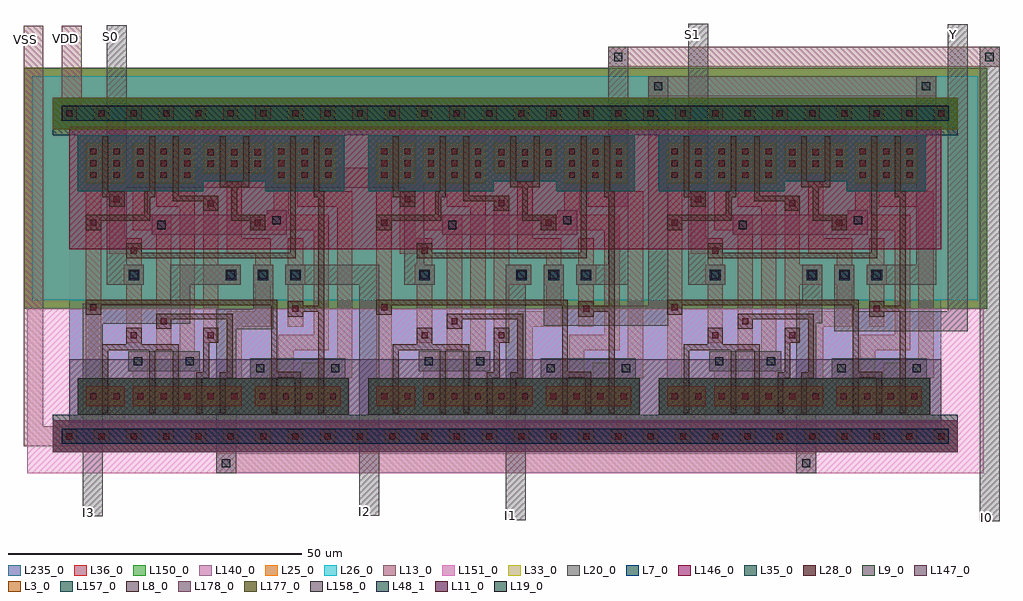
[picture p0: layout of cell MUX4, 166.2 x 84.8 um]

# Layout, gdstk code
import gdstk
lib = gdstk.Library(unit=1e-6, precision=1e-07)
def R(c, l, rs):  # rectangles x0, y0, x1, y1
    for r in rs: c.add(gdstk.rectangle(r[:2], r[2:], *l))
def A(c, l, x, y, w, h, nx, ny, dx, dy):  # array of equal rectangles
    R(c, l, [(x+i*dx, y+j*dy, x+i*dx+w, y+j*dy+h) for i in range(nx) for j in range(ny)])
def P(c, l, *ps):  # polygons
    for p in ps: c.add(gdstk.Polygon(p, *l))
L3_0 = (3, 0)
L7_0 = (7, 0)
L8_0 = (8, 0)
L9_0 = (9, 0)
L11_0 = (11, 0)
L13_0 = (13, 0)
L19_0 = (19, 0)
L20_0 = (20, 0)
L25_0 = (25, 0)
L26_0 = (26, 0)
L28_0 = (28, 0)
L33_0 = (33, 0)
L35_0 = (35, 0)
L36_0 = (36, 0)
L48_1 = (48, 1)
L140_0 = (140, 0)
L146_0 = (146, 0)
L147_0 = (147, 0)
L150_0 = (150, 0)
L151_0 = (151, 0)
L157_0 = (157, 0)
L158_0 = (158, 0)
L177_0 = (177, 0)
L178_0 = (178, 0)
L235_0 = (235, 0)

mux2 = lib.new_cell('MUX2')
A(mux2, L3_0, -1.3, -1.3, 2.6, 2.6, 10, 2, 5.5, 55)
R(mux2, L3_0, [(2.8,5.1,9.4,8.5), (10.8,5.1,29.4,8.5), (31.6,5.1,46.2,8.5), (2.8,43.1,9.4,49.9), (10.8,43.1,21.4,49.9), (34.8,43.1,45.4,49.9), (22.8,44.8,33.4,49.9)])
R(mux2, L7_0, [(-2.8,-2.7,52.3,2.7)])
P(mux2, L7_0, [(1.4,41.7),(1.4,51.3),(-2.8,51.3),(-2.8,57.7),(52.3,57.7),(52.3,51.3),(46.8,51.3),(46.8,41.7),(33.4,41.7),(33.4,43.4),(22.8,43.4),(22.8,41.7)])
P(mux2, L8_0, [(5.6,3.9),(5.6,15.7),(9.7,15.7),(9.7,18.5),(12.3,18.5),(12.3,15.7),(18.6,15.7),(18.6,3.9),(17.6,3.9),(17.6,14.7),(14.6,14.7),(14.6,3.9),(13.6,3.9),(13.6,14.7),(6.6,14.7),(6.6,3.9)],
  [(21.6,3.9),(21.6,10.9),(22.8,10.9),(22.8,18.5),(25.4,18.5),(25.4,15.9),(23.8,15.9),(23.8,9.9),(22.6,9.9),(22.6,3.9)],
  [(25.6,3.9),(25.6,10.9),(26.8,10.9),(26.8,19.9),(17.4,19.9),(17.4,18.3),(14.8,18.3),(14.8,20.9),(27.8,20.9),(27.8,9.9),(26.6,9.9),(26.6,3.9)],
  [(34.4,3.9),(34.4,22.3),(5.4,22.3),(5.4,20.7),(2.8,20.7),(2.8,23.3),(35.4,23.3),(35.4,11),(39.4,11),(39.4,3.9),(38.4,3.9),(38.4,10),(35.4,10),(35.4,3.9)],
  [(6.8,39.1),(6.8,40.7),(5.6,40.7),(5.6,51.1),(6.6,51.1),(6.6,41.7),(9.4,41.7),(9.4,39.1)],
  [(2.8,35.1),(2.8,37.7),(12.8,37.7),(12.8,41.7),(13.6,41.7),(13.6,51.1),(14.6,51.1),(14.6,40.7),(13.8,40.7),(13.8,36.7),(5.4,36.7),(5.4,35.1)],
  [(22.8,38.4),(22.8,40),(17.6,40),(17.6,51.1),(18.6,51.1),(18.6,41),(25.4,41),(25.4,38.4)],
  [(30.8,35.1),(30.8,36.7),(27.6,36.7),(27.6,42.4),(25.6,42.4),(25.6,51.1),(26.6,51.1),(26.6,43.4),(29.6,43.4),(29.6,51.1),(30.6,51.1),(30.6,42.4),(28.6,42.4),(28.6,37.7),(33.4,37.7),(33.4,35.1)],
  [(9.7,30.3),(9.7,32.9),(12.3,32.9),(12.3,31.3),(37.6,31.3),(37.6,51.1),(38.6,51.1),(38.6,30.3)],
  [(42.4,3.9),(42.4,21.2),(39.8,21.2),(39.8,20.4),(37.2,20.4),(37.2,23),(39.8,23),(39.8,22.2),(42.4,22.2),(42.4,40.7),(41.6,40.7),(41.6,51.1),(42.6,51.1),(42.6,41.7),(43.4,41.7),(43.4,3.9)])
R(mux2, L9_0, [(1.4,3.7,47.6,9.9), (-2.8,52.3,52.3,57.7)])
A(mux2, L11_0, -0.5, -0.5, 1, 1, 10, 2, 5.5, 55)
A(mux2, L11_0, 3.6, 6.3, 1, 1, 4, 2, 4, 37.7)
A(mux2, L11_0, 15.6, 44, 1, 1, 1, 3, 0, 2)
A(mux2, L11_0, 19.6, 44, 1, 1, 1, 3, 0, 2)
A(mux2, L11_0, 35.6, 44, 1, 1, 1, 3, 0, 2)
A(mux2, L11_0, 43.6, 44, 1, 1, 1, 3, 0, 2)
A(mux2, L11_0, 3.6, 46, 1, 1, 4, 2, 4, 2)
R(mux2, L11_0, [(15.6,6.3,16.6,7.3), (19.6,6.3,20.6,7.3), (19.6,6.3,20.6,7.3), (23.6,6.3,24.6,7.3), (23.6,6.3,24.6,7.3), (27.6,6.3,28.6,7.3), (32.4,6.3,33.4,7.3), (36.4,6.3,37.4,7.3), (36.4,6.3,37.4,7.3), (40.4,6.3,41.4,7.3), (40.4,6.3,41.4,7.3), (44.4,6.3,45.4,7.3), (10.5,16.7,11.5,17.7), (23.6,16.7,24.6,17.7), (15.6,19.1,16.6,20.1), (38,21.2,39,22.2), (3.6,21.5,4.6,22.5), (10.5,31.1,11.5,32.1), (3.6,35.9,4.6,36.9), (31.6,35.9,32.6,36.9), (23.6,39.2,24.6,40.2), (7.6,39.9,8.6,40.9), (39.6,44,40.6,45), (39.6,44,40.6,45), (23.6,45.9,24.6,46.9), (27.6,45.9,28.6,46.9), (27.6,45.9,28.6,46.9), (31.6,45.9,32.6,46.9), (39.6,46,40.6,47), (39.6,46,40.6,47), (23.6,47.9,24.6,48.9), (27.6,47.9,28.6,48.9), (27.6,47.9,28.6,48.9), (31.6,47.9,32.6,48.9), (39.6,48,40.6,49), (39.6,48,40.6,49)])
R(mux2, L13_0, [(2.8,5.1,5.4,49.9)])
P(mux2, L13_0, [(-1.3,-1.3),(-1.3,1.3),(6.8,1.3),(6.8,8.5),(9.4,8.5),(9.4,1.3),(22.8,1.3),(22.8,8.5),(25.4,8.5),(25.4,1.3),(43.6,1.3),(43.6,8.5),(46.2,8.5),(46.2,1.3),(50.8,1.3),(50.8,-1.3)],
  [(31.6,5.1),(31.6,9.9),(30.8,9.9),(30.8,13.3),(34.2,13.3),(34.2,5.1)],
  [(10.8,5.1),(10.8,11.1),(10,11.1),(10,14.5),(13.4,14.5),(13.4,5.1)],
  [(37.2,18.7),(37.2,25.8),(36.8,25.8),(36.8,29.2),(37.2,29.2),(37.2,33.7),(39.8,33.7),(39.8,29.2),(40.2,29.2),(40.2,25.8),(39.8,25.8),(39.8,18.7)],
  [(22.8,15.9),(22.8,41),(25.4,41),(25.4,29.2),(29.2,29.2),(29.2,25.8),(25.4,25.8),(25.4,15.9)],
  [(9.7,15.9),(9.7,25.8),(9.3,25.8),(9.3,29.2),(9.7,29.2),(9.7,31.1),(6.8,31.1),(6.8,41.7),(9.4,41.7),(9.4,33.7),(12.3,33.7),(12.3,29.2),(12.7,29.2),(12.7,25.8),(12.3,25.8),(12.3,15.9)],
  [(14.8,5.1),(14.8,34.3),(14,34.3),(14,35.1),(10.8,35.1),(10.8,49.9),(13.4,49.9),(13.4,37.7),(17.4,37.7),(17.4,5.1)],
  [(18.8,5.1),(18.8,39.1),(14.8,39.1),(14.8,49.9),(17.4,49.9),(17.4,41.7),(21.4,41.7),(21.4,14.5),(22.2,14.5),(22.2,11.1),(21.4,11.1),(21.4,5.1)],
  [(26.8,5.1),(26.8,21.3),(31.7,21.3),(31.7,25.8),(31.3,25.8),(31.3,29.2),(31.7,29.2),(31.7,31.1),(26.8,31.1),(26.8,49.9),(29.4,49.9),(29.4,33.7),(34.3,33.7),(34.3,29.2),(34.7,29.2),(34.7,25.8),(34.3,25.8),(34.3,18.7),(29.4,18.7),(29.4,5.1)],
  [(35.6,5.1),(35.6,17.3),(41.6,17.3),(41.6,35.1),(30.8,35.1),(30.8,37.7),(33.6,37.7),(33.6,38.5),(34.8,38.5),(34.8,49.9),(37.4,49.9),(37.4,37.7),(44.2,37.7),(44.2,14.7),(38.2,14.7),(38.2,5.1)],
  [(39.6,5.1),(39.6,12.5),(43.6,12.5),(43.6,13.3),(45.6,13.3),(45.6,39.1),(38.8,39.1),(38.8,49.9),(41.4,49.9),(41.4,41.7),(48.2,41.7),(48.2,9.9),(42.2,9.9),(42.2,5.1)],
  [(6.8,43.1),(6.8,53.7),(-1.3,53.7),(-1.3,56.3),(50.8,56.3),(50.8,53.7),(45.4,53.7),(45.4,43.1),(42.8,43.1),(42.8,53.7),(33.4,53.7),(33.4,44.8),(30.8,44.8),(30.8,53.7),(25.4,53.7),(25.4,44.8),(22.8,44.8),(22.8,53.7),(21.4,53.7),(21.4,43.1),(18.8,43.1),(18.8,53.7),(9.4,53.7),(9.4,43.1)])
R(mux2, L19_0, [(31.8,10.9,33.2,12.3), (44.6,10.9,46,12.3), (11,12.1,12.4,13.5), (19.8,12.1,21.2,13.5), (15,35.3,16.4,36.7), (34.6,36.1,36,37.5)])
R(mux2, L20_0, [(30.8,9.9,47,13.3), (10,11.1,22.2,14.5)])
P(mux2, L20_0, [(14,34.3),(14,37.7),(33.6,37.7),(33.6,38.5),(37,38.5),(37,34.3)])
R(mux2, L25_0, [(-6.3,23.2,55.8,61.3)])
R(mux2, L26_0, [(-6.3,23.2,55.8,61.3)])
R(mux2, L28_0, [(-2.8,-2.7,52.3,2.7)])
P(mux2, L28_0, [(1.4,41.7),(1.4,51.3),(46.8,51.3),(46.8,41.7),(33.4,41.7),(33.4,43.4),(22.8,43.4),(22.8,41.7)])
P(mux2, L33_0, [(-2.8,-2.7),(-2.8,3.7),(1.4,3.7),(1.4,9.9),(47.6,9.9),(47.6,3.7),(52.3,3.7),(52.3,-2.7)],
  [(1.4,41.7),(1.4,51.3),(-2.8,51.3),(-2.8,57.7),(52.3,57.7),(52.3,51.3),(46.8,51.3),(46.8,41.7),(33.4,41.7),(33.4,43.4),(22.8,43.4),(22.8,41.7)])
R(mux2, L35_0, [(-2.8,52.3,52.3,57.7)])
P(mux2, L35_0, [(-2.8,-2.7),(-2.8,3.7),(1.4,3.7),(1.4,9.9),(47.6,9.9),(47.6,3.7),(52.3,3.7),(52.3,-2.7)])
R(mux2, L36_0, [(-7.8,21.7,57.3,62.8)])
A(mux2, L48_1, 26.6, 26.6, 1.8, 1.8, 3, 1, 5.5, 0)
R(mux2, L48_1, [(-1.3,-1.3,50.8,1.3), (10.1,26.6,11.9,28.4), (-1.3,53.7,50.8,56.3)])
R(mux2, L140_0, [(-6.3,23.2,55.8,61.3)])
R(mux2, L146_0, [(0,31.9,49.5,52.7)])
R(mux2, L147_0, [(0,2.3,49.5,13.1)])
R(mux2, L150_0, [(-7.8,21.7,57.3,62.8)])
R(mux2, L151_0, [(-7.2,-6.3,56.7,21.7)])
P(mux2, L157_0, [(1.4,41.7),(1.4,51.3),(46.8,51.3),(46.8,41.7),(33.4,41.7),(33.4,43.4),(22.8,43.4),(22.8,41.7)])
R(mux2, L158_0, [(1.4,3.7,47.6,9.9)])
R(mux2, L177_0, [(-2.8,52.3,52.3,57.7)])
R(mux2, L178_0, [(-2.8,-2.7,52.3,2.7)])
R(mux2, L235_0, [(0,0,49.5,55)])
mux2.add(gdstk.Label('via1', (20.5,12.8), layer=19, texttype=0))
mux2.add(gdstk.Label('via1', (32.5,11.6), layer=19, texttype=0))
mux2.add(gdstk.Label('via1', (11.7,12.8), layer=19, texttype=0))
mux2.add(gdstk.Label('via1', (45.3,11.6), layer=19, texttype=0))
mux2.add(gdstk.Label('via1', (35.3,36.8), layer=19, texttype=0))
mux2.add(gdstk.Label('via1', (15.7,36), layer=19, texttype=0))
mux2.add(gdstk.Label('B', (24.1,24.4), layer=235, texttype=0))
mux2.add(gdstk.Label('S', (11,29.8), layer=235, texttype=0))
mux2.add(gdstk.Label('SN', (4.1,29.7), layer=235, texttype=0))
mux2.add(gdstk.Label('PASS1', (46.9,25.1), layer=235, texttype=0))
mux2.add(gdstk.Label('OUT', (42.9,26.9), layer=235, texttype=0))
mux2.add(gdstk.Label('OUT', (16.1,27.2), layer=235, texttype=0))
mux2.add(gdstk.Label('PASS2', (20.1,24.3), layer=235, texttype=0))
mux2.add(gdstk.Label('Y', (33,24.2), layer=235, texttype=0))
mux2.add(gdstk.Label('A', (38.5,24.3), layer=235, texttype=0))
mux2.add(gdstk.Label('M6', (42.9,6.8), layer=235, texttype=0))
mux2.add(gdstk.Label('M7', (34.9,6.8), layer=235, texttype=0))
mux2.add(gdstk.Label('M5', (6.1,7), layer=235, texttype=0))
mux2.add(gdstk.Label('M1', (26.1,6.8), layer=235, texttype=0))
mux2.add(gdstk.Label('M4', (18.1,6.7), layer=235, texttype=0))
mux2.add(gdstk.Label('M3', (22.1,6.7), layer=235, texttype=0))
mux2.add(gdstk.Label('M4', (14.1,6.7), layer=235, texttype=0))
mux2.add(gdstk.Label('M7', (38.9,6.8), layer=235, texttype=0))
mux2.add(gdstk.Label('S', (11,27.5), layer=48, texttype=0))
mux2.add(gdstk.Label('B', (27.5,27.5), layer=48, texttype=0))
mux2.add(gdstk.Label('Y', (33,27.5), layer=48, texttype=0))
mux2.add(gdstk.Label('A', (38.5,27.5), layer=48, texttype=0))
mux2.add(gdstk.Label('gnd', (0,0), layer=48, texttype=0))
mux2.add(gdstk.Label('vdd', (0,55), layer=48, texttype=0))

via = lib.new_cell('Via')
R(via, L13_0, [(-1.7,-1.7,1.7,1.7)])
R(via, L19_0, [(-0.7,-0.7,0.7,0.7)])
R(via, L20_0, [(-1.7,-1.7,1.7,1.7)])

mux4 = lib.new_cell('MUX4')
mux4.add(gdstk.FlexPath([(147.6,59.6),(98.6,59.6)], 3.4, ends="flush", simple_path=True, layer=13, datatype=0))  # L13_0
mux4.add(gdstk.FlexPath([(127.2,-4.6),(25,-4.6)], 3.4, ends="flush", simple_path=True, layer=13, datatype=0))  # L13_0
mux4.add(gdstk.FlexPath([(158.4,64.6),(91.8,64.6)], 3.4, ends="flush", simple_path=True, layer=13, datatype=0))  # L13_0
mux4.add(gdstk.FlexPath([(0.4,53.8),(0.4,69.9)], 3.4, ends="flush", simple_path=True, layer=13, datatype=0))  # L13_0
mux4.add(gdstk.FlexPath([(1.3,0),(-6.1,0),(-6.1,69.9)], 3.4, ends="flush", simple_path=True, layer=13, datatype=0))  # L13_0
mux4.add(gdstk.FlexPath([(12.7,27.5),(8.1,27.5),(8.1,70)], 3.4, ends="flush", simple_path=True, layer=20, datatype=0))  # L20_0
mux4.add(gdstk.FlexPath([(33,29.2),(33,19.9),(26.7,19.9),(26.7,-6.3)], 3.4, ends="flush", simple_path=True, layer=20, datatype=0))  # L20_0
mux4.add(gdstk.FlexPath([(36.8,27.5),(51.1,27.5),(51.1,-13.5)], 3.4, ends="flush", simple_path=True, layer=20, datatype=0))  # L20_0
mux4.add(gdstk.FlexPath([(29.2,27.5),(18.9,27.5),(18.9,20.9),(4,20.9),(4,-13.6)], 3.4, ends="flush", simple_path=True, layer=20, datatype=0))  # L20_0
mux4.add(gdstk.FlexPath([(62.2,27.5),(58.7,27.5),(58.7,44),(6.4,44)], 3.4, ends="flush", simple_path=True, layer=20, datatype=0))  # L20_0
mux4.add(gdstk.FlexPath([(78.7,27.5),(76,27.5),(76,-14.3)], 3.4, ends="flush", simple_path=True, layer=20, datatype=0))  # L20_0
mux4.add(gdstk.FlexPath([(156.7,66.3),(156.7,-14.5)], 3.4, ends="flush", simple_path=True, layer=20, datatype=0))  # L20_0
mux4.add(gdstk.FlexPath([(86.3,27.5),(93.5,27.5),(93.5,66.3)], 3.4, ends="flush", simple_path=True, layer=20, datatype=0))  # L20_0
mux4.add(gdstk.FlexPath([(111.7,27.5),(107.1,27.5),(107.1,70.3)], 3.4, ends="flush", simple_path=True, layer=20, datatype=0))  # L20_0
mux4.add(gdstk.FlexPath([(126.5,29.2),(126.5,21),(125.5,21),(125.5,-6.3)], 3.4, ends="flush", simple_path=True, layer=20, datatype=0))  # L20_0
mux4.add(gdstk.FlexPath([(135.8,27.5),(145.9,27.5),(145.9,61.3)], 3.4, ends="flush", simple_path=True, layer=20, datatype=0))  # L20_0
mux4.add(gdstk.FlexPath([(132,29.2),(132,19.6),(151.3,19.6),(151.3,70.2)], 3.4, ends="flush", simple_path=True, layer=20, datatype=0))  # L20_0
mux4.add(gdstk.FlexPath([(82.5,29.2),(82.5,20.5),(100.3,20.5),(100.3,61.3)], 3.4, ends="flush", simple_path=True, layer=20, datatype=0))  # L20_0
mux4.add(gdstk.Reference(mux2, (0,0)))
mux4.add(gdstk.Reference(mux2, (49.5,0)))
mux4.add(gdstk.Reference(mux2, (99,0)))
mux4.add(gdstk.Reference(via, (110,27.5)))
mux4.add(gdstk.Reference(via, (126.5,27.5)))
mux4.add(gdstk.Reference(via, (132,27.5)))
mux4.add(gdstk.Reference(via, (137.5,27.5)))
mux4.add(gdstk.Reference(via, (88,27.5)))
mux4.add(gdstk.Reference(via, (82.5,27.5)))
mux4.add(gdstk.Reference(via, (77,27.5)))
mux4.add(gdstk.Reference(via, (60.5,27.5)))
mux4.add(gdstk.Reference(via, (38.5,27.5)))
mux4.add(gdstk.Reference(via, (33,27.5)))
mux4.add(gdstk.Reference(via, (27.5,27.5)))
mux4.add(gdstk.Reference(via, (11,27.5)))
mux4.add(gdstk.Reference(via, (100.3,59.6)))
mux4.add(gdstk.Reference(via, (145.9,59.6)))
mux4.add(gdstk.Reference(via, (26.7,-4.6)))
mux4.add(gdstk.Reference(via, (125.5,-4.6)))
mux4.add(gdstk.Reference(via, (93.5,64.6)))
mux4.add(gdstk.Reference(via, (156.7,64.6)))
mux4.add(gdstk.Label('VDD', (-0.6,67.8), layer=13, texttype=0))
mux4.add(gdstk.Label('VSS', (-7.4,67.6), layer=13, texttype=0))
mux4.add(gdstk.Label('I3', (3.2,-13), layer=20, texttype=0))
mux4.add(gdstk.Label('I2', (50.2,-12.8), layer=20, texttype=0))
mux4.add(gdstk.Label('I1', (75.2,-13.4), layer=20, texttype=0))
mux4.add(gdstk.Label('I0', (156.2,-13.9), layer=20, texttype=0))
mux4.add(gdstk.Label('Y', (150.5,68.4), layer=20, texttype=0))
mux4.add(gdstk.Label('S0', (7.1,68.1), layer=20, texttype=0))
mux4.add(gdstk.Label('S1', (106.1,68.4), layer=20, texttype=0))

lib.write_gds('MUX4.gds')
